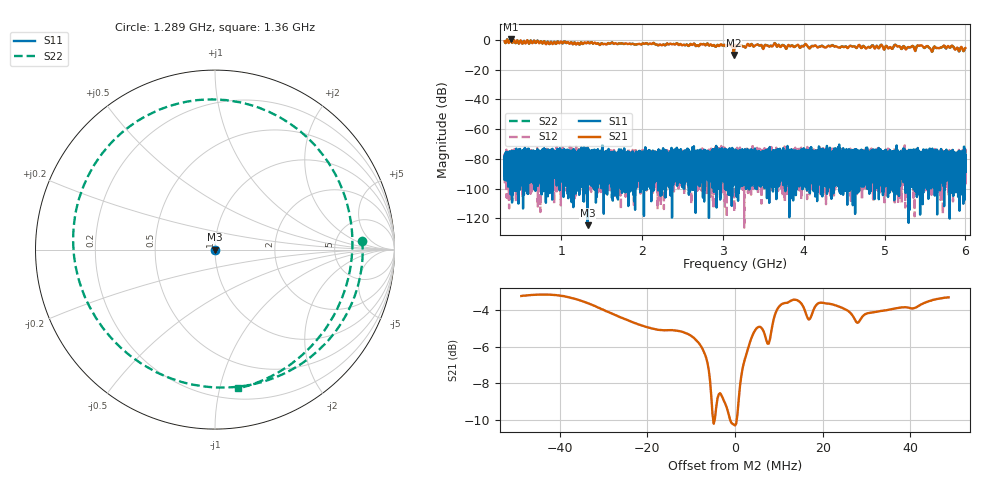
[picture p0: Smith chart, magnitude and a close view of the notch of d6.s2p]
!Agilent Technologies,N5230C,SG49000117,A.08.50.07
!Agilent N5230C: A.08.50.07
!Date: Monday, March 18, 2024 18:16:49
!Correction: S11(Off)
!S21(Off)
!S12(Off)
!S22(Off)
!S2P File: Measurements: S11, S21, S12, S22:
# Hz S  RI  R 50
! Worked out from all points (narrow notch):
!   20001 points, 300 MHz to 6 GHz, reference 50 ohm
!   highest |S21| = 0.44 dB at 373.2 MHz (marker M1); lowest = -10.3 dB at 3.136 GHz (marker M2)
!   notch at M2: 6.6 dB deep, 8.13 MHz wide at half that depth
!   lowest |S11| = -124.6 dB at 1.325 GHz (marker M3), VSWR 1.00, Z = 50 + j5.87e-05 ohm
!   |S11| at or under -10 dB: start of sweep to end of sweep
!   |S22| runs from -10.3 to 0.5 dB; largest |S21 - S12| = 1.1
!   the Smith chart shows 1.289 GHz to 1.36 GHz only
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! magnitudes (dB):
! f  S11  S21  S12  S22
! 300 MHz  -78.6  -1.0  -82.9  -1.0
! 373.2 MHz  -83.2  0.4  -83.8  0.5
! 1.25 GHz  -76.6  -1.8  -84.5  -1.8
! 1.325 GHz  -124.6  -1.7  -83.8  -1.7
! 2.2 GHz  -86.6  -3.8  -89.1  -3.8
! 3.077 GHz  -82.0  -3.5  -80.8  -3.5
! 3.136 GHz  -75.4  -10.3  -81.1  -10.3
! 3.15 GHz  -79.4  -3.4  -86.2  -3.4
! 3.173 GHz  -91.4  -3.9  -83.4  -3.8
! 3.264 GHz  -86.3  -4.6  -91.1  -4.5
! 3.331 GHz  -77.4  -4.2  -88.2  -4.1
! 3.487 GHz  -81.0  -4.7  -80.2  -4.7
! 3.637 GHz  -90.0  -2.4  -78.8  -2.3
! 3.776 GHz  -84.9  -5.6  -83.5  -5.5
! 4.1 GHz  -81.8  -4.2  -84.0  -4.1
! 5.05 GHz  -81.9  -5.8  -79.8  -5.8
! 5.142 GHz  -92.0  -3.7  -85.1  -3.6
! 5.377 GHz  -87.1  -7.5  -83.7  -7.5
! 5.436 GHz  -81.4  -4.0  -82.7  -4.0
! 5.577 GHz  -93.3  -7.1  -80.2  -7.1
! 5.722 GHz  -80.7  -4.4  -77.7  -4.5
! 6 GHz  -88.9  -5.6  -84.0  -5.6
